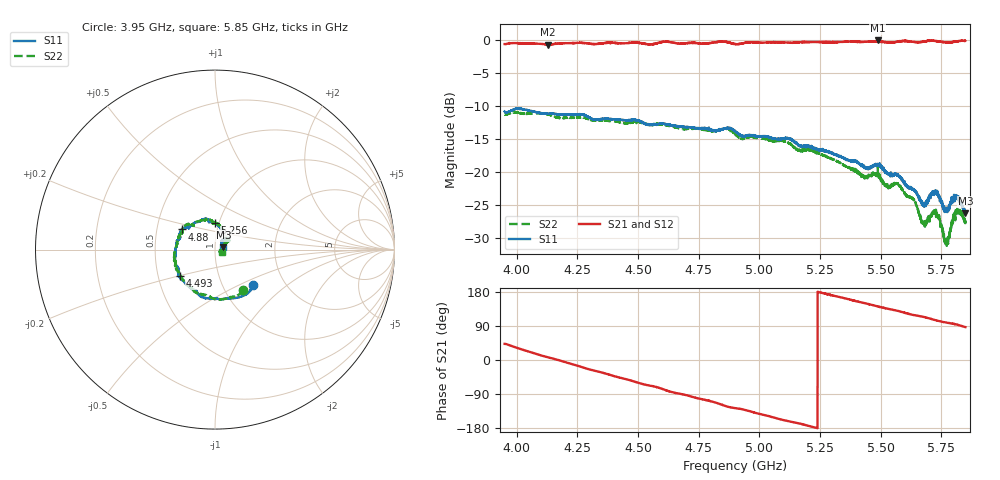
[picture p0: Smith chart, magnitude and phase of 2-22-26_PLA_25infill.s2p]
# GHZ S RI R 50.000000000000
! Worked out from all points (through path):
!   4501 points, 3.95 GHz to 5.85 GHz, reference 50 ohm
!   highest |S21| = 0.00 dB at 5.489 GHz (marker M1); lowest = -0.6 dB at 4.129 GHz (marker M2)
!   lowest |S11| = -26.2 dB at 5.85 GHz (marker M3), VSWR 1.10, Z = 55 + j1.4 ohm
!   |S11| at or under -10 dB: start of sweep to end of sweep
!   |S22| runs from -31.2 to -10.9 dB; largest |S21 - S12| = 0.025
!   S11 on the Smith chart (normalised r, x): 3.95 GHz: 1.39, -0.60; 4.493 GHz: 0.65, -0.20; 4.88 GHz: 0.67, +0.16; 5.256 GHz: 0.96, +0.29; 5.85 GHz: 1.10, +0.03
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3.95  0.2118 -0.1975  0.6919 0.6343  0.685 0.6329  0.1553 -0.2247
4.048378  0.1257 -0.2676  0.877 0.3624  0.8806 0.3655  0.073 -0.2692
4.1286  0.0535 -0.2727  0.9246 0.1169  0.9311 0.1154  -0.00234 -0.2748
4.267089  -0.0644 -0.2675  0.9096 -0.3026  0.9138 -0.2989  -0.1058 -0.2392
4.4934  -0.197 -0.1472  0.4916 -0.8232  0.497 -0.8284  -0.213 -0.1022
4.583756  -0.2145 -0.0894  0.2831 -0.9151  0.2832 -0.9083  -0.2259 -0.0518
4.719711  -0.2197 0.00593  -0.1071 -0.9525  -0.1163 -0.9513  -0.2071 0.0533
4.836667  -0.1971 0.0739  -0.4303 -0.88  -0.422 -0.8878  -0.1816 0.1053
4.879733  -0.185 0.1125  -0.5468 -0.7881  -0.5522 -0.7923  -0.157 0.14
4.9  -0.1646 0.1257  -0.5692 -0.7505  -0.5759 -0.7499  -0.137 0.1415
5.066356  -0.0904 0.1551  -0.8638 -0.4415  -0.8635 -0.4471  -0.0552 0.1633
5.217089  -0.0226 0.1544  -0.972 -0.0643  -0.972 -0.0684  0.0122 0.1436
5.256356  -0.000201 0.1464  -0.9717 0.0434  -0.9713 0.0378  0.0275 0.1338
5.489  0.0367 0.1103  -0.7772 0.6294  -0.7846 0.6181  0.0844 0.07
5.533756  0.049 0.0826  -0.6819 0.6868  -0.6815 0.6954  0.0625 0.0475
5.567956  0.0589 0.0764  -0.6317 0.7461  -0.6276 0.7468  0.068 0.0462
5.6334  0.054 0.0514  -0.4744 0.8535  -0.4802 0.8494  0.0549 0.0317
5.678578  0.0396 0.0417  -0.3935 0.8978  -0.3919 0.8987  0.0372 0.0169
5.729244  0.0528 0.048  -0.2475 0.9557  -0.2457 0.9557  0.0456 -0.00468
5.771044  0.0396 0.0351  -0.1491 0.9548  -0.1417 0.9489  0.0286 -0.01
5.811156  0.0547 0.0355  -0.0699 0.9826  -0.0709 0.9759  0.0519 -0.0112
5.85  0.0474 0.0127  0.0554 0.9912  0.0525 0.999  0.0401 -0.0158
